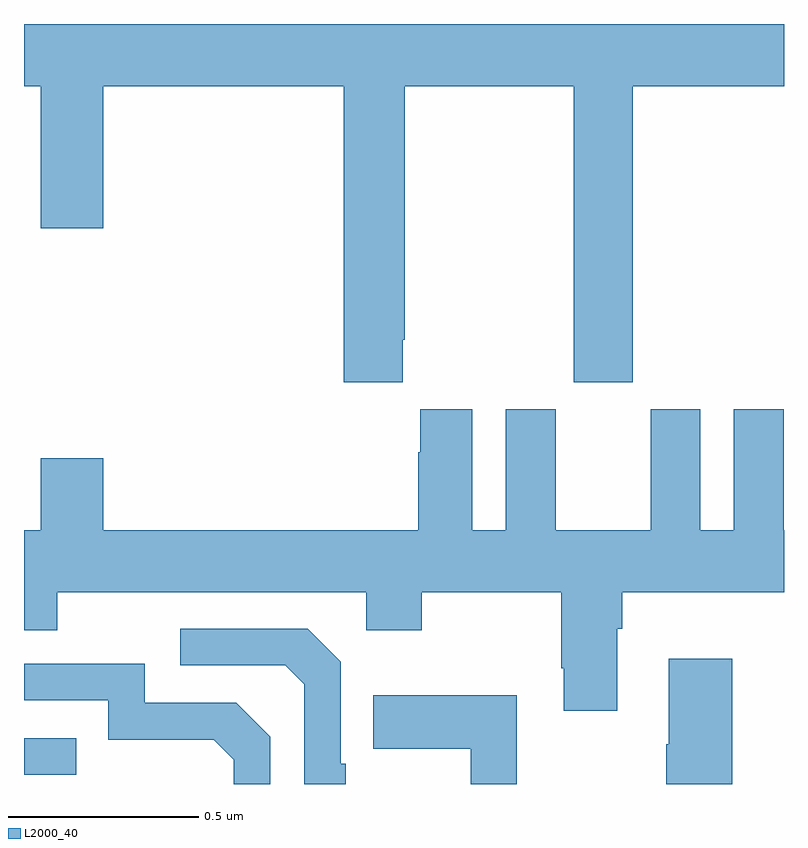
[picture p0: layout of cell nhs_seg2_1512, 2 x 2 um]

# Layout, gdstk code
import gdstk
lib = gdstk.Library(unit=1e-6, precision=1e-09)
def R(c, l, rs):  # rectangles x0, y0, x1, y1
    for r in rs: c.add(gdstk.rectangle(r[:2], r[2:], *l))
def P(c, l, *ps):  # polygons
    for p in ps: c.add(gdstk.Polygon(p, *l))
L2000_40 = (2000, 40)

nhs_seg2_1512 = lib.new_cell('nhs_seg2_1512')
R(nhs_seg2_1512, L2000_40, [(129,645.825,129.137,645.921)])
P(nhs_seg2_1512, L2000_40, [(129.997,646.969),(130.002,646.969),(130.002,647.636),(130.447,647.636),(130.447,646.857),(130.602,646.857),(130.602,647.636),(131,647.636),(131,647.8),(129,647.8),(129,647.636),(129.044,647.636),(129.044,647.262),(129.208,647.262),(129.208,647.636),(129.842,647.636),(129.842,646.857),(129.997,646.857)],
  [(130.561,646.208),(130.574,646.208),(130.574,646.304),(131,646.304),(131,646.468),(130.999,646.468),(130.999,646.786),(130.868,646.786),(130.868,646.468),(130.78,646.468),(130.78,646.786),(130.649,646.786),(130.649,646.468),(130.399,646.468),(130.399,646.786),(130.268,646.786),(130.268,646.468),(130.18,646.468),(130.18,646.786),(130.043,646.786),(130.043,646.673),(130.037,646.673),(130.037,646.468),(129.208,646.468),(129.208,646.657),(129.044,646.657),(129.044,646.468),(129,646.468),(129,646.205),(129.087,646.205),(129.087,646.304),(129.9,646.304),(129.9,646.205),(130.047,646.205),(130.047,646.304),(130.414,646.304),(130.414,646.105),(130.421,646.105),(130.421,645.993),(130.561,645.993)],
  [(129.847,645.853),(129.834,645.853),(129.834,646.122),(129.747,646.209),(129.411,646.209),(129.411,646.113),(129.687,646.113),(129.738,646.062),(129.738,645.8),(129.847,645.8)],
  [(130.864,646.129),(130.697,646.129),(130.697,645.905),(130.69,645.905),(130.69,645.8),(130.864,645.8)],
  [(129.648,645.924),(129.558,646.014),(129.318,646.014),(129.318,646.116),(129,646.116),(129,646.02),(129.222,646.02),(129.222,645.917),(129.499,645.917),(129.552,645.864),(129.552,645.8),(129.648,645.8)],
  [(130.297,646.033),(129.919,646.033),(129.919,645.893),(130.176,645.893),(130.176,645.8),(130.297,645.8)])

lib.write_gds('nhs_seg2_1512.gds')
